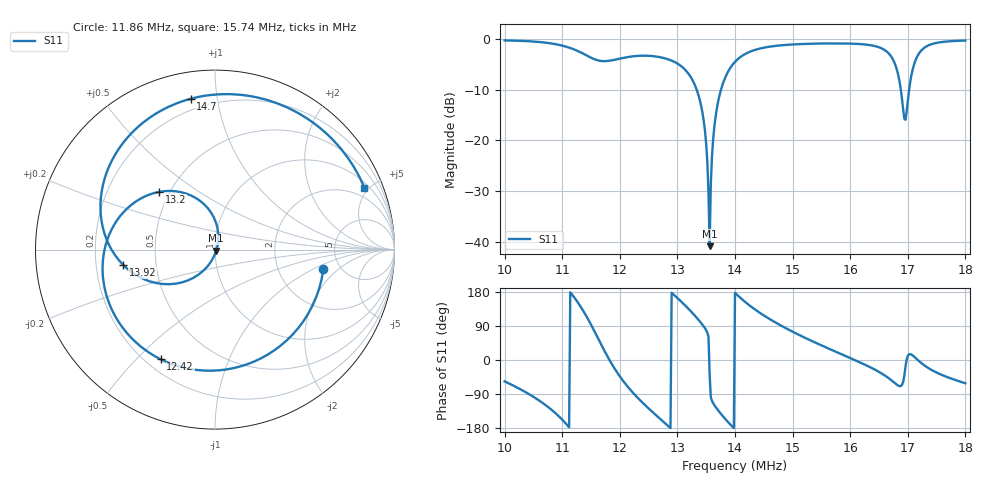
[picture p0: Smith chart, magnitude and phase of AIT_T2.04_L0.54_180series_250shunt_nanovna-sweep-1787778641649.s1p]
! NanoVNA Web complex sweep
! Processing: original sample grid, no browser smoothing
# Hz S RI R 50
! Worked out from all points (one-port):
!   401 points, 10 MHz to 18 MHz, reference 50 ohm
!   lowest |S11| = -40.9 dB at 13.56 MHz (marker M1), VSWR 1.02, Z = 50.7 - j0.586 ohm
!   |S11| at or under -10 dB: 13.33 MHz to 13.76 MHz (424.7 kHz wide, 3.14 % of centre); 16.88 MHz to 17.02 MHz (145.5 kHz wide, 0.858 % of centre)
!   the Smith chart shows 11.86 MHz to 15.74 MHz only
!   S11 on the Smith chart (normalised r, x): 11.86 MHz: 3.68, -1.30; 12.42 MHz: 0.26, -0.59; 13.2 MHz: 0.44, +0.35; 13.92 MHz: 0.32, -0.07; 14.7 MHz: 0.14, +0.84; 15.74 MHz: 1.29, +4.71
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1e7  0.5333 -0.8022
1.056e7  -0.2091 -0.9114
1.1e7  -0.7904 -0.3296
1.124e7  -0.719 0.2804
1.146e7  -0.1696 0.647
1.168e7  0.464 0.387
1.186e7  0.6032 -0.1103
1.2e7  0.4643 -0.4367
1.242e7  -0.3022 -0.6113
1.272e7  -0.6077 -0.245
1.3e7  -0.5471 0.1615
1.32e7  -0.3094 0.322
1.342e7  -0.0219 0.2065
1.356e7  0.00692 -0.00578
1.37e7  -0.1515 -0.1719
1.392e7  -0.5111 -0.0857
1.4e7  -0.5918 0.0289
1.428e7  -0.5839 0.4769
1.47e7  -0.1363 0.8402
1.5e7  0.2323 0.8483
1.574e7  0.8327 0.3435
1.6e7  0.8928 0.082
1.668e7  0.4596 -0.5362
1.688e7  0.1132 -0.2904
1.7e7  0.2394 0.0463
1.712e7  0.5789 0.0753
1.732e7  0.7996 -0.2549
1.8e7  0.4614 -0.8434
